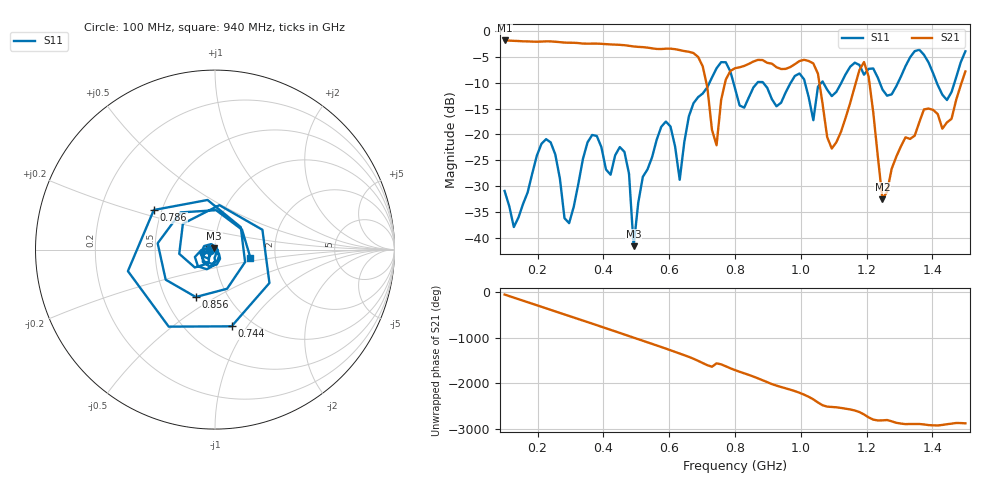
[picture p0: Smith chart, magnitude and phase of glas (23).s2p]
! NanoVNA-App
! Date: 2025-09-25 15:55:39
! Start: 100MHz Stop: 1,5GHz Points: 101
! S-Parameter data: F S11 S21 S12 S22
# Hz S RI R 50
!  Frequency  S11_Real  S11_Imag  S21_Real  S21_Imag  S12_Real  S12_Imag  S22_Real  S22_Imag
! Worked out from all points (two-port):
!   101 points, 100 MHz to 1.5 GHz, reference 50 ohm
!   highest |S21| = -1.80 dB at 100 MHz (marker M1); lowest = -32.6 dB at 1.248 GHz (marker M2)
!   |S21| within 3 dB of the highest: start of sweep to 684.3 MHz
!   lowest |S11| = -41.7 dB at 492 MHz (marker M3), VSWR 1.02, Z = 49.5 + j0.637 ohm
!   |S11| at or under -10 dB: start of sweep to 722.4 MHz; 795.4 MHz to 867.9 MHz (72.57 MHz wide, 8.73 % of centre); 885.7 MHz to 969.2 MHz (83.47 MHz wide, 9 % of centre) (the widest 3 of 7)
!   S12 and S22 are empty: the file has one direction only
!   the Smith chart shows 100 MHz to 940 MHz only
!   S11 on the Smith chart (normalised r, x): 100 MHz: 0.95, -0.01; 744 MHz: 0.80, -0.85; 786 MHz: 0.45, +0.24; 856 MHz: 0.71, -0.41; 940 MHz: 1.48, -0.14
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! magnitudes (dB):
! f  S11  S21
! 100 MHz  -31.0  -1.8
! 128 MHz  -38.0  -1.9
! 226 MHz  -20.9  -2.0
! 296 MHz  -37.2  -2.2
! 338 MHz  -24.7  -2.4
! 464 MHz  -23.4  -2.7
! 492 MHz  -41.7  -3.0
! 576 MHz  -18.5  -3.5
! 632 MHz  -28.8  -3.7
! 702 MHz  -12.1  -6.8
! 744 MHz  -7.2  -22.1
! 786 MHz  -7.8  -7.7
! 800 MHz  -11.1  -7.2
! 856 MHz  -10.9  -5.9
! 940 MHz  -13.9  -7.3
! 996 MHz  -8.2  -5.8
! 1.038 GHz  -17.3  -6.3
! 1.094 GHz  -12.6  -22.7
! 1.192 GHz  -8.4  -6.0
! 1.248 GHz  -11.3  -32.6
! 1.276 GHz  -12.2  -26.7
! 1.5 GHz  -3.9  -7.8
